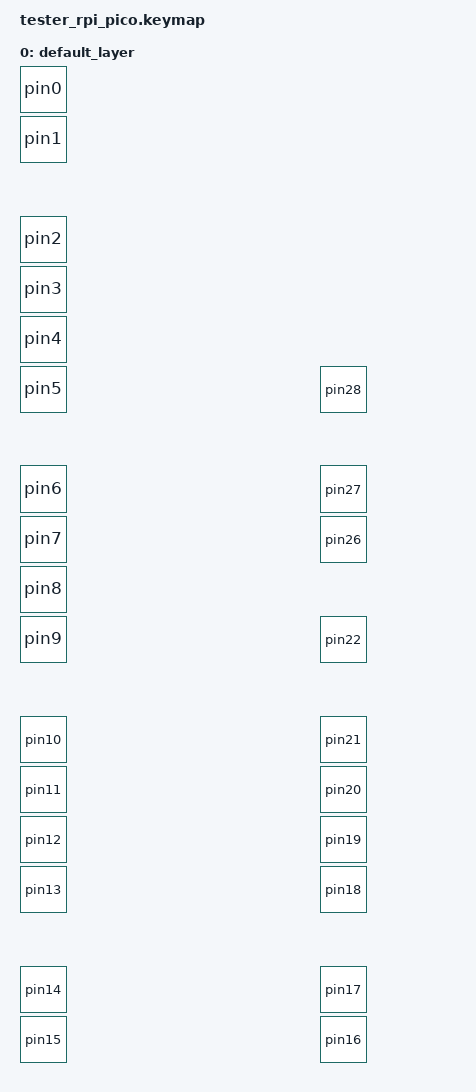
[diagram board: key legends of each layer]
#include <behaviors.dtsi>
#include <dt-bindings/zmk/keys.h>

#define PIN_MACRO(name, pin) \
/ { \
    macros { \
        name: name { \
            compatible = "zmk,behavior-macro"; \
            wait-ms = <5>; \
            tap-ms = <5>; \
            #binding-cells = <0>; \
            bindings = <&kp P &kp I &kp N &kp SPACE>, pin, <&kp ENTER>; \
        }; \
    }; \
};

PIN_MACRO(pin0, <&kp N0>)
PIN_MACRO(pin1, <&kp N1>)
PIN_MACRO(pin2, <&kp N2>)
PIN_MACRO(pin3, <&kp N3>)
PIN_MACRO(pin4, <&kp N4>)
PIN_MACRO(pin5, <&kp N5>)
PIN_MACRO(pin6, <&kp N6>)
PIN_MACRO(pin7, <&kp N7>)
PIN_MACRO(pin8, <&kp N8>)
PIN_MACRO(pin9, <&kp N9>)
PIN_MACRO(pin10, <&kp N1 &kp N0>)
PIN_MACRO(pin11, <&kp N1 &kp N1>)
PIN_MACRO(pin12, <&kp N1 &kp N2>)
PIN_MACRO(pin13, <&kp N1 &kp N3>)
PIN_MACRO(pin14, <&kp N1 &kp N4>)
PIN_MACRO(pin15, <&kp N1 &kp N5>)
PIN_MACRO(pin16, <&kp N1 &kp N6>)
PIN_MACRO(pin17, <&kp N1 &kp N7>)
PIN_MACRO(pin18, <&kp N1 &kp N8>)
PIN_MACRO(pin19, <&kp N1 &kp N9>)
PIN_MACRO(pin20, <&kp N2 &kp N0>)
PIN_MACRO(pin21, <&kp N2 &kp N1>)
PIN_MACRO(pin22, <&kp N2 &kp N2>)
PIN_MACRO(pin26, <&kp N2 &kp N6>)
PIN_MACRO(pin27, <&kp N2 &kp N7>)
PIN_MACRO(pin28, <&kp N2 &kp N8>)

/ {
    keymap {
        compatible = "zmk,keymap";

        default_layer {
            bindings = <&pin0
                        &pin1
                        &pin2
                        &pin3
                        &pin4
                        &pin5
                        &pin6
                        &pin7
                        &pin8
                        &pin9
                        &pin10
                        &pin11
                        &pin12
                        &pin13
                        &pin14
                        &pin15
                        &pin16
                        &pin17
                        &pin18
                        &pin19
                        &pin20
                        &pin21
                        &pin22
                        &pin26
                        &pin27
                        &pin28>;
        };
    };
};
